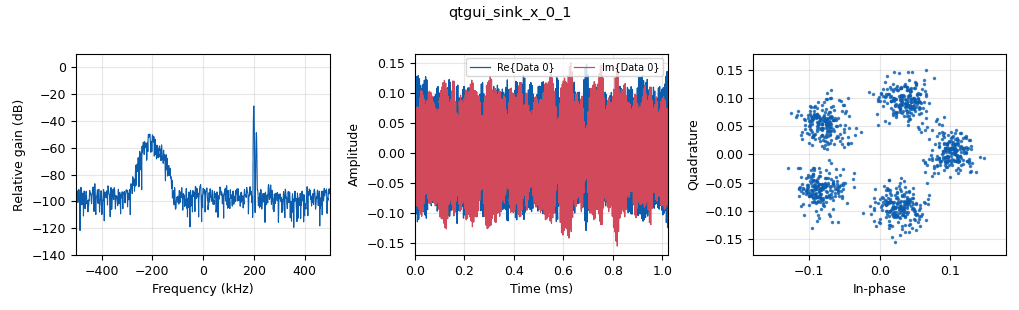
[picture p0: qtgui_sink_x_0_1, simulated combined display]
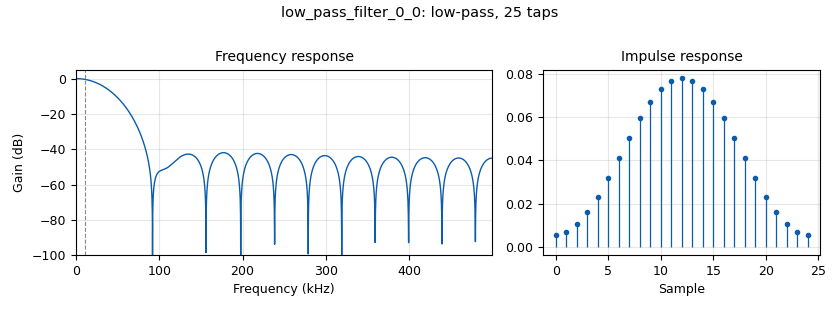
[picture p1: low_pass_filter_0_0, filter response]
<?xml version='1.0' encoding='utf-8'?>
<?grc format='1' created='3.7.13'?>
<flow_graph>
<block>
<key>options</key>
<param><key>id</key><value>rfnoc_pfb_channelizer</value></param>
<param><key>generate_options</key><value>qt_gui</value></param>
</block>
<block>
<key>variable</key>
<param><key>id</key><value>freq_0</value></param>
<param><key>value</key><value>-input_sine_freq</value></param>
</block>
<block>
<key>variable</key>
<param><key>id</key><value>freq_1</value></param>
<param><key>value</key><value>input_sine_freq</value></param>
</block>
<block>
<key>variable</key>
<param><key>id</key><value>input_rate</value></param>
<param><key>value</key><value>1e6</value></param>
</block>
<block>
<key>variable</key>
<param><key>id</key><value>input_sine_freq</value></param>
<param><key>value</key><value>200e3</value></param>
</block>
<block>
<key>variable</key>
<param><key>id</key><value>lowpass_cutoff</value></param>
<param><key>value</key><value>0.01</value></param>
</block>
<block>
<key>variable</key>
<param><key>id</key><value>nchan</value></param>
<param><key>value</key><value>8</value></param>
</block>
<block>
<key>variable</key>
<param><key>id</key><value>output_rate_0</value></param>
<param><key>value</key><value>250e3</value></param>
</block>
<block>
<key>variable</key>
<param><key>id</key><value>output_rate_1</value></param>
<param><key>value</key><value>25e3</value></param>
</block>
<block>
<key>variable</key>
<param><key>id</key><value>sine_offset</value></param>
<param><key>value</key><value>10e3</value></param>
</block>
<block>
<key>variable_uhd_device3</key>
<param><key>id</key><value>variable_uhd_device3_0</value></param>
<param><key>dev_addr</key><value>"type=%s" % (device)</value></param>
<param><key>dev_args</key><value></value></param>
</block>
<block>
<key>analog_fastnoise_source_x</key>
<param><key>id</key><value>analog_fastnoise_source_x_0</value></param>
<param><key>amp</key><value>0.001</value></param>
<param><key>noise_type</key><value>analog.GR_GAUSSIAN</value></param>
<param><key>type</key><value>complex</value></param>
<param><key>seed</key><value>0</value></param>
<param><key>samples</key><value>8192</value></param>
</block>
<block>
<key>analog_fastnoise_source_x</key>
<param><key>id</key><value>analog_fastnoise_source_x_0_0</value></param>
<param><key>amp</key><value>1.0</value></param>
<param><key>noise_type</key><value>analog.GR_GAUSSIAN</value></param>
<param><key>type</key><value>complex</value></param>
<param><key>seed</key><value>0</value></param>
<param><key>samples</key><value>8192</value></param>
</block>
<block>
<key>analog_sig_source_x</key>
<param><key>id</key><value>analog_sig_source_x_0</value></param>
<param><key>amp</key><value>0.1</value></param>
<param><key>freq</key><value>input_sine_freq</value></param>
<param><key>offset</key><value>0</value></param>
<param><key>type</key><value>complex</value></param>
<param><key>samp_rate</key><value>input_rate</value></param>
<param><key>waveform</key><value>analog.GR_SIN_WAVE</value></param>
</block>
<block>
<key>analog_sig_source_x</key>
<param><key>id</key><value>analog_sig_source_x_0_0</value></param>
<param><key>amp</key><value>0.1</value></param>
<param><key>freq</key><value>-input_sine_freq</value></param>
<param><key>offset</key><value>0</value></param>
<param><key>type</key><value>complex</value></param>
<param><key>samp_rate</key><value>input_rate</value></param>
<param><key>waveform</key><value>analog.GR_SIN_WAVE</value></param>
</block>
<block>
<key>analog_sig_source_x</key>
<param><key>id</key><value>analog_sig_source_x_0_1</value></param>
<param><key>amp</key><value>0.01</value></param>
<param><key>freq</key><value>input_sine_freq+sine_offset</value></param>
<param><key>offset</key><value>0</value></param>
<param><key>type</key><value>complex</value></param>
<param><key>samp_rate</key><value>input_rate</value></param>
<param><key>waveform</key><value>analog.GR_SIN_WAVE</value></param>
</block>
<block>
<key>blocks_add_xx</key>
<param><key>id</key><value>blocks_add_xx_0</value></param>
<param><key>type</key><value>complex</value></param>
<param><key>num_inputs</key><value>4</value></param>
</block>
<block>
<key>blocks_file_sink</key>
<param><key>id</key><value>blocks_file_sink_0</value></param>
<param><key>_enabled</key><value>0</value></param>
<param><key>file</key><value>pfb_channelizer_interleaved.c32</value></param>
<param><key>type</key><value>complex</value></param>
<param><key>vlen</key><value>nchan</value></param>
</block>
<block>
<key>blocks_multiply_xx</key>
<param><key>id</key><value>blocks_multiply_xx_0</value></param>
<param><key>type</key><value>complex</value></param>
</block>
<block>
<key>blocks_null_sink</key>
<param><key>id</key><value>blocks_null_sink_0</value></param>
<param><key>bus_conns</key><value>[[0,],]</value></param>
<param><key>type</key><value>complex</value></param>
</block>
<block>
<key>blocks_null_sink</key>
<param><key>id</key><value>blocks_null_sink_0_0</value></param>
<param><key>bus_conns</key><value>[[0,],]</value></param>
<param><key>type</key><value>complex</value></param>
</block>
<block>
<key>blocks_null_sink</key>
<param><key>id</key><value>blocks_null_sink_0_0_0</value></param>
<param><key>bus_conns</key><value>[[0,],]</value></param>
<param><key>type</key><value>complex</value></param>
</block>
<block>
<key>blocks_null_sink</key>
<param><key>id</key><value>blocks_null_sink_0_0_1</value></param>
<param><key>bus_conns</key><value>[[0,],]</value></param>
<param><key>type</key><value>complex</value></param>
</block>
<block>
<key>blocks_null_sink</key>
<param><key>id</key><value>blocks_null_sink_0_0_2</value></param>
<param><key>bus_conns</key><value>[[0,],]</value></param>
<param><key>type</key><value>complex</value></param>
</block>
<block>
<key>blocks_null_sink</key>
<param><key>id</key><value>blocks_null_sink_0_1</value></param>
<param><key>bus_conns</key><value>[[0,],]</value></param>
<param><key>type</key><value>complex</value></param>
</block>
<block>
<key>blocks_null_sink</key>
<param><key>id</key><value>blocks_null_sink_0_2</value></param>
<param><key>bus_conns</key><value>[[0,],]</value></param>
<param><key>type</key><value>complex</value></param>
</block>
<block>
<key>blocks_null_sink</key>
<param><key>id</key><value>blocks_null_sink_0_3</value></param>
<param><key>bus_conns</key><value>[[0,],]</value></param>
<param><key>type</key><value>complex</value></param>
</block>
<block>
<key>blocks_stream_to_vector</key>
<param><key>id</key><value>blocks_stream_to_vector_0</value></param>
<param><key>type</key><value>complex</value></param>
<param><key>num_items</key><value>nchan</value></param>
</block>
<block>
<key>blocks_throttle</key>
<param><key>id</key><value>blocks_throttle_0</value></param>
<param><key>samples_per_second</key><value>input_rate</value></param>
<param><key>type</key><value>complex</value></param>
</block>
<block>
<key>blocks_vector_to_streams</key>
<param><key>id</key><value>blocks_vector_to_streams_0</value></param>
<param><key>type</key><value>complex</value></param>
<param><key>num_streams</key><value>nchan</value></param>
</block>
<block>
<key>parameter</key>
<param><key>id</key><value>device</value></param>
<param><key>label</key><value>Ettus Device Type</value></param>
<param><key>type</key><value>string</value></param>
<param><key>value</key><value>x300</value></param>
</block>
<block>
<key>low_pass_filter</key>
<param><key>id</key><value>low_pass_filter_0_0</value></param>
<param><key>cutoff_freq</key><value>input_rate*lowpass_cutoff</value></param>
<param><key>decim</key><value>1</value></param>
<param><key>type</key><value>fir_filter_ccf</value></param>
<param><key>gain</key><value>1</value></param>
<param><key>samp_rate</key><value>input_rate</value></param>
<param><key>width</key><value>input_rate*0.1</value></param>
<param><key>win</key><value>firdes.WIN_HAMMING</value></param>
</block>
<block>
<key>qtgui_sink_x</key>
<param><key>id</key><value>qtgui_sink_x_0</value></param>
<param><key>bw</key><value>input_rate/nchan</value></param>
<param><key>fc</key><value>0</value></param>
<param><key>freqchangevar</key><value>None</value></param>
<param><key>fftsize</key><value>1024</value></param>
<param><key>showports</key><value>True</value></param>
<param><key>type</key><value>complex</value></param>
<param><key>wintype</key><value>firdes.WIN_BLACKMAN_hARRIS</value></param>
</block>
<block>
<key>qtgui_sink_x</key>
<param><key>id</key><value>qtgui_sink_x_0_1</value></param>
<param><key>bw</key><value>input_rate</value></param>
<param><key>fc</key><value>0</value></param>
<param><key>freqchangevar</key><value>None</value></param>
<param><key>fftsize</key><value>1024</value></param>
<param><key>gui_hint</key><value>0,0</value></param>
<param><key>showports</key><value>True</value></param>
<param><key>type</key><value>complex</value></param>
<param><key>wintype</key><value>firdes.WIN_BLACKMAN_hARRIS</value></param>
</block>
<block>
<key>theseus_rfnoc_pfbchan</key>
<param><key>id</key><value>theseus_rfnoc_pfbchan_0</value></param>
<param><key>block_index</key><value>-1</value></param>
<param><key>device_index</key><value>-1</value></param>
<param><key>fft_size</key><value>nchan</value></param>
<param><key>fpga_module_name</key><value>noc_block_pfbchan</value></param>
<param><key>grvlen</key><value>1</value></param>
</block>
<block>
<key>uhd_rfnoc_streamer_fifo</key>
<param><key>id</key><value>uhd_rfnoc_streamer_fifo_0</value></param>
<param><key>otw</key><value>sc16</value></param>
<param><key>device_index</key><value>-1</value></param>
<param><key>block_index</key><value>0</value></param>
<param><key>fpga_module_name</key><value>noc_block_axi_fifo_loopback</value></param>
<param><key>grvlen</key><value>1</value></param>
<param><key>type</key><value>fc32</value></param>
</block>
<connection><source_block_id>analog_fastnoise_source_x_0</source_block_id><sink_block_id>blocks_add_xx_0</sink_block_id><source_key>0</source_key><sink_key>0</sink_key></connection>
<connection><source_block_id>analog_fastnoise_source_x_0_0</source_block_id><sink_block_id>low_pass_filter_0_0</sink_block_id><source_key>0</source_key><sink_key>0</sink_key></connection>
<connection><source_block_id>analog_sig_source_x_0</source_block_id><sink_block_id>blocks_add_xx_0</sink_block_id><source_key>0</source_key><sink_key>2</sink_key></connection>
<connection><source_block_id>analog_sig_source_x_0_0</source_block_id><sink_block_id>blocks_multiply_xx_0</sink_block_id><source_key>0</source_key><sink_key>1</sink_key></connection>
<connection><source_block_id>analog_sig_source_x_0_1</source_block_id><sink_block_id>blocks_add_xx_0</sink_block_id><source_key>0</source_key><sink_key>3</sink_key></connection>
<connection><source_block_id>blocks_add_xx_0</source_block_id><sink_block_id>blocks_throttle_0</sink_block_id><source_key>0</source_key><sink_key>0</sink_key></connection>
<connection><source_block_id>blocks_multiply_xx_0</source_block_id><sink_block_id>blocks_add_xx_0</sink_block_id><source_key>0</source_key><sink_key>1</sink_key></connection>
<connection><source_block_id>blocks_stream_to_vector_0</source_block_id><sink_block_id>blocks_file_sink_0</sink_block_id><source_key>0</source_key><sink_key>0</sink_key></connection>
<connection><source_block_id>blocks_stream_to_vector_0</source_block_id><sink_block_id>blocks_vector_to_streams_0</sink_block_id><source_key>0</source_key><sink_key>0</sink_key></connection>
<connection><source_block_id>blocks_throttle_0</source_block_id><sink_block_id>qtgui_sink_x_0_1</sink_block_id><source_key>0</source_key><sink_key>0</sink_key></connection>
<connection><source_block_id>blocks_throttle_0</source_block_id><sink_block_id>theseus_rfnoc_pfbchan_0</sink_block_id><source_key>0</source_key><sink_key>0</sink_key></connection>
<connection><source_block_id>blocks_vector_to_streams_0</source_block_id><sink_block_id>blocks_null_sink_0_0_2</sink_block_id><source_key>0</source_key><sink_key>0</sink_key></connection>
<connection><source_block_id>blocks_vector_to_streams_0</source_block_id><sink_block_id>blocks_null_sink_0_0_1</sink_block_id><source_key>1</source_key><sink_key>0</sink_key></connection>
<connection><source_block_id>blocks_vector_to_streams_0</source_block_id><sink_block_id>blocks_null_sink_0_0_0</sink_block_id><source_key>2</source_key><sink_key>0</sink_key></connection>
<connection><source_block_id>blocks_vector_to_streams_0</source_block_id><sink_block_id>qtgui_sink_x_0</sink_block_id><source_key>2</source_key><sink_key>0</sink_key></connection>
<connection><source_block_id>blocks_vector_to_streams_0</source_block_id><sink_block_id>blocks_null_sink_0_0</sink_block_id><source_key>3</source_key><sink_key>0</sink_key></connection>
<connection><source_block_id>blocks_vector_to_streams_0</source_block_id><sink_block_id>blocks_null_sink_0_1</sink_block_id><source_key>4</source_key><sink_key>0</sink_key></connection>
<connection><source_block_id>blocks_vector_to_streams_0</source_block_id><sink_block_id>blocks_null_sink_0_2</sink_block_id><source_key>5</source_key><sink_key>0</sink_key></connection>
<connection><source_block_id>blocks_vector_to_streams_0</source_block_id><sink_block_id>blocks_null_sink_0_3</sink_block_id><source_key>6</source_key><sink_key>0</sink_key></connection>
<connection><source_block_id>blocks_vector_to_streams_0</source_block_id><sink_block_id>blocks_null_sink_0</sink_block_id><source_key>7</source_key><sink_key>0</sink_key></connection>
<connection><source_block_id>low_pass_filter_0_0</source_block_id><sink_block_id>blocks_multiply_xx_0</sink_block_id><source_key>0</source_key><sink_key>0</sink_key></connection>
<connection><source_block_id>theseus_rfnoc_pfbchan_0</source_block_id><sink_block_id>uhd_rfnoc_streamer_fifo_0</sink_block_id><source_key>0</source_key><sink_key>0</sink_key></connection>
<connection><source_block_id>uhd_rfnoc_streamer_fifo_0</source_block_id><sink_block_id>blocks_stream_to_vector_0</sink_block_id><source_key>0</source_key><sink_key>0</sink_key></connection>
</flow_graph>
